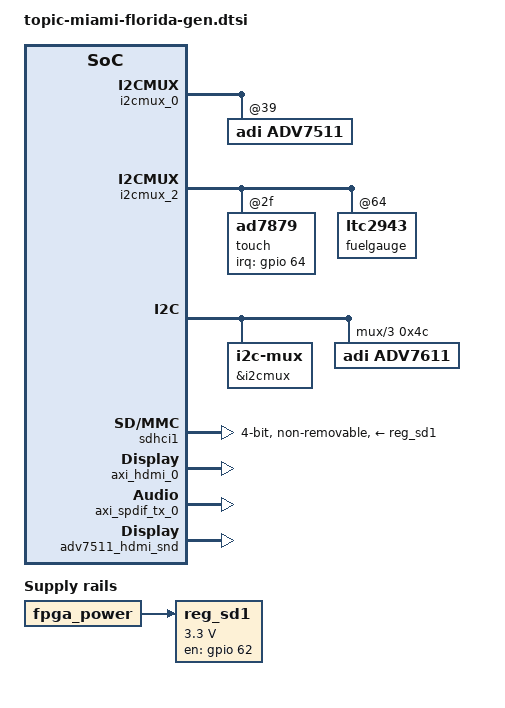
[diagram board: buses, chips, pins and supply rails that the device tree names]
/include/ "topic-miami-florida.dtsi"

/ {
		/* Fake power supply that activates when the FPGA has been
		 * configured. */
		fpga_power: fpga_power@0 {
			compatible = "regulator-fpga";
			regulator-name = "FPGA power";
			regulator-always-on;
		};

		/* SD 1 for WiFi card */
		reg_sd1: regulator_sd1 {
			compatible = "regulator-fixed";
			regulator-name = "rsi-wifi";
			regulator-min-microvolt = <3300000>;
			regulator-max-microvolt = <3300000>;
			vin-supply = <&fpga_power>;
			gpio = <&gpio 62 0>; /* Connected to NRESET */
			enable-active-high;
			startup-delay-us = <25000>; /* Datasheet mentions 20ms */
		};

};

/* I2C bus layout */
&i2cmux_0 {
	/* HDMI OUT */
	adv7511: adv7511@39 {
		compatible = "adi,adv7511";
		reg = <0x39>;

		adi,input-style = <0x02>;
		adi,input-id = <0x01>;
		adi,input-color-depth = <0x3>;
		adi,sync-pulse = <0x03>;
		adi,bit-justification = <0x01>;
		adi,up-conversion = <0x00>;
		adi,timing-generation-sequence = <0x00>;
		adi,vsync-polarity = <0x02>;
		adi,hsync-polarity = <0x02>;
		adi,tdms-clock-inversion;
		adi,clock-delay = <0x03>;
	};
};
&i2cmux_2 {
	/* Touch */
	touch: ad7879@2f {
		compatible = "ad7879";
		reg = <0x2F>;
		interrupt-parent = <&gpio>;
		interrupts = <64 0x2>; /* GPIO 64 (EMIO 10), falling edge */
		adi,x-plate-ohms = /bits/ 16 <620>;
		adi,pressure-min = /bits/ 16 <0>;
		adi,pressure-max = /bits/ 16 <10000>;
		adi,x-min = /bits/ 16 <0>;
		adi,x-max = /bits/ 16 <1024>;
		adi,y-min = /bits/ 16 <0>;
		adi,y.max = /bits/ 16 <600>;
		adi,pen-down-acquisition-interval = /bits/ 8 <255>; /* 9.4 ms */
	};
	/* Battery gauge */
	fuelgauge: ltc2943@64 {
		compatible = "ltc2943";
		reg = <0x64>;

		resistor-sense = <0xfffffff1>; /* 15 mOhm, reversed polarity */
		prescaler-exponent = <5>; /* 2^(2*5) = 1024 */
	};
};
&i2cmux {
	i2c@1 {
		/* HDMI O - Connects directly to HDMI connector */
		#address-cells = <1>;
		#size-cells = <0>;
		reg = <1>;
	};
	i2c@3 {
		/* HDMI IN */
		#address-cells = <1>;
		#size-cells = <0>;
		reg = <3>;
		/* copied from zynq-zed-imageon.dts */
		adv7611@4c {
			compatible = "adi,adv7611";
			reg = <0x4c>;
			/* endpoint todo...
			port@0 {
				reg = <0x0>;
			};
			port@1 {
				reg = <0x1>;
				adv7611: endpoint {
					bus-width = <16>;
					remote-endpoint = <&axi_hdmi_rx>;
				};
			};
			*/
		};
	};
};

&fpga_axi {

		/* SDIO via EMIO to a Wifi card */

		sdhci1: sdhci@e0101000 {
			compatible = "arasan,sdhci-8.9a";
			reg = <0xe0101000 0x1000>;
			interrupts = <0 47 4>;
			interrupt-parent = <&gic>;
			clock-names = "clk_xin", "clk_ahb";
			clocks = <&clkc 22>, <&clkc 33>;
			disable-wp;
			broken-cd;
			non-removable;
			vmmc-supply = <&reg_sd1>;
			bus-width = <4>;
			cap-power-off-card;
			/* Max clock is 25MHz when using EMIO */
			max-frequency = <25000000>;
		};

		/* FPGA IP blocks */

		axi_vdma_0: axivdma@43000000 {
			compatible = "xlnx,axi-vdma";
			#address-cells = <1>;
			#size-cells = <1>;
			#dma-cells = <1>;
			#dma-channels = <1>;
			reg = <0x43000000 0x1000>;
			xlnx,include-sg = <0x0>;
			xlnx,num-fstores = <0x3>;
			dma-channel@43000000 {
				compatible = "xlnx,axi-vdma-mm2s-channel";
				interrupts = <0 59 0x4>;
				xlnx,datawidth = <0x40>;
				xlnx,genlock-mode = <0x0>;
				xlnx,include-dre = <0x0>;
			};
		};

		hdmi_clock: axi-clkgen@79000000 {
			compatible = "adi,axi-clkgen-2.00.a";
			reg = <0x79000000 0x10000>;
			#clock-cells = <0>;
			clocks = <&clkc 17>;
		};

		axi_hdmi_0: axi_hdmi@70e00000 {
			compatible = "adi,axi-hdmi-tx-1.00.a";
			reg = <0x70e00000 0x10000>;
			encoder-slave = <&adv7511>;
			dmas = <&axi_vdma_0 0>;
			dma-names = "video";
			clocks = <&hdmi_clock>;
		};

		axi_spdif_tx_0: axi-spdif-tx@0x75c00000 {
			compatible = "adi,axi-spdif-tx-1.00.a";
			reg = <0x75c00000 0x1000>;
			dmas = <&ps7_dma 0>;
			dma-names = "tx";
			clocks = <&clkc 15>, <&audio_clock>, <&audio_clock>;
			clock-names = "axi", "ref", "spdif";
		};

		adv7511_hdmi_snd: adv7511_hdmi_snd {
			compatible = "adv7511-hdmi-snd";
			audio-codec = <&adv7511>;
			cpu-dai = <&axi_spdif_tx_0>;
		};

		axi_vdma_1: axivdma@43010000 {
			compatible = "xlnx,axi-vdma";
			#address-cells = <1>;
			#size-cells = <1>;
			#dma-cells = <1>;
			#dma-channels = <1>;
			reg = <0x43010000 0x1000>;
			xlnx,include-sg = <0x0>;
			xlnx,num-fstores = <0x3>;
			dma-channel@43000000 {
				compatible = "xlnx,axi-vdma-mm2s-channel";
				interrupts = <0 55 0x4>;
				xlnx,datawidth = <0x40>;
				xlnx,genlock-mode = <0x0>;
				xlnx,include-dre = <0x0>;
			};
		};

		axi_vdma_vga: axi_vdma_vga@7e000000 {
			compatible = "topic,vdma-fb";
			reg = <0x7e000000 0x10000>;
			dmas = <&axi_vdma_1 0>;
			dma-names = "video";
			width = <1024>;
			height = <600>;
			horizontal-sync = <136>;
			horizontal-front-porch = <24>;
			horizontal-back-porch = <160>;
			horizontal-polarity = <0>;
			vertical-sync = <8>;
			vertical-front-porch = <4>;
			vertical-back-porch = <23>;
			vertical-polarity = <0>;
		};
};
